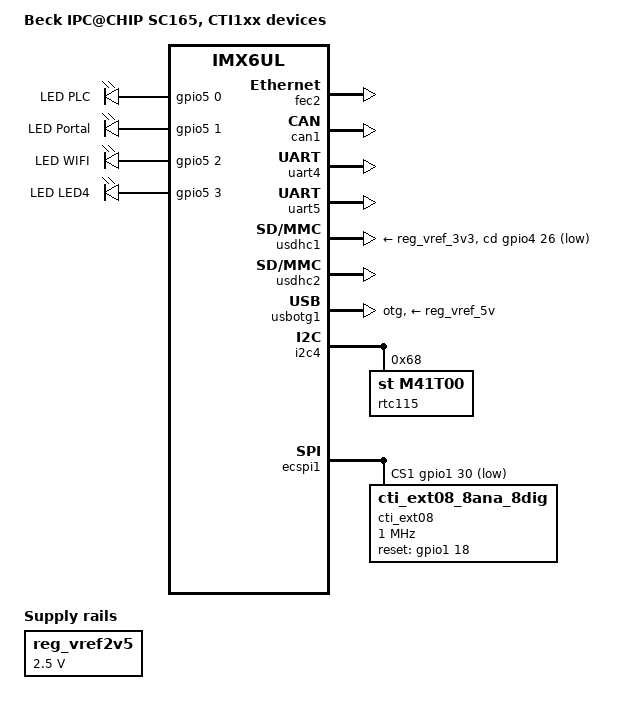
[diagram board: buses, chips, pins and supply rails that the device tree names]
/*
 * Copyright (C) 2015 Freescale Semiconductor, Inc.
 * Copyright (C) 2016 Beck IPC GmbH
 * Copyright (C) 2017, 2018 Kernel Concepts GmbH
 *
 * This program is free software; you can redistribute it and/or modify
 * it under the terms of the GNU General Public License version 2 as
 * published by the Free Software Foundation.
 *
 * Device tree for SC165-H00 on Beck CTI1xx baseboards
 *
 */

/dts-v1/;
#include "imx6ul.dtsi"
#include "imx6ul-sc165-h00.dtsi"
#include <dt-bindings/gpio/gpio.h>

/ {
	model = "Beck IPC@CHIP SC165, CTI1xx devices";
	compatible = "beck,imx6ul-sc165", "fsl,imx6ul";

	chosen {
		stdout-path = &uart4;
	};

	/* LEDs located on main board */
	mainboard-leds {
		status = "okay";
		pinctrl-names = "default";
		pinctrl-0 = <&pinctrl_leds>;
		compatible = "gpio-leds";
		led_g1 {
			label = "LED PLC";
			gpios = <&gpio5 0 GPIO_ACTIVE_HIGH>;
			default-state = "off";
		};
		led_g2 {
			label = "LED Portal";
			gpios = <&gpio5 1 GPIO_ACTIVE_HIGH>;
			default-state = "off";
		};
		led_g3 {
			label = "LED WIFI";
			gpios = <&gpio5 2 GPIO_ACTIVE_HIGH>;
			default-state = "off";
		};
		led_g4 {
			label = "LED LED4";
			gpios = <&gpio5 3 GPIO_ACTIVE_HIGH>;
			default-state = "off";
		};
	};

	reg_vref2v5: regulator-2v5 {
		compatible = "regulator-fixed";
		regulator-name = "vref";
		regulator-min-microvolt = <2500000>;
		regulator-max-microvolt = <2500000>;
		regulator-always-on;
	};
};

&flash0 {
	partitions {
		compatible = "fixed-partitions";
		#address-cells = <1>;
		#size-cells = <1>;

		partition@0 {		/* 512k */
			label = "bootloader";
			reg = <0x0000000 0x0080000>;
			read-only;
		};

		partition@80000 {	/* 256k */
			label = "environment";
			reg = <0x0080000 0x0040000>;
		};

		partition@C0000 {	/* ubi container */
			label = "filesystem";
			reg = <0x00C0000 0xFF40000>;
		};
	};
};

&fec2 {
    status = "okay";
};

&can1 {
    status = "okay";
};

&can2 {
    status = "disabled";
};

&uart1 {
    status = "disabled";
};

&uart4 {
    status = "okay";
};

&uart5 {
    status = "ok";
    /delete-node/ fsl,uart-has-rtscts;
};

&usdhc1 {
    status = "okay";
    cd-gpios = <&gpio4 26 GPIO_ACTIVE_LOW>; /* 117 high, 115 low */
    disable-wp;
    vmmc-supply = <&reg_vref_3v3>;
    /delete-node/ wp-gpios;
};


&usdhc2 {
    status = "okay";
};

&usbotg1 {
	status = "disabled";
};

&usbotg2 {
	status = "disabled";
};

&lcdif {
	status = "disabled";
};

&i2c1 {
    status = "disabled";
};


&i2c2 {
    status = "disabled";
};

&i2c4 {
    status = "ok";

    /* External RTC */
    rtc115: m41t00@68 {
	compatible = "st,m41t00";
	reg = <0x68>;
    };
};

&ecspi1 {
    fsl,spi-num-chipselects = <1>;
    cs-gpios = <0>, <&gpio1 30 GPIO_ACTIVE_LOW>;
    pinctrl-names = "default";
    pinctrl-0 = <&pinctrl_ecspi1>;
    status = "okay";

    cti_ext08: cti_ext08@0 {
        compatible = "cti_ext08_8ana_8dig";
        spi-max-frequency = <1000000>;
        spi-cpha=<0>;
        spi-cpol=<0>;
        reg = <1>;
        gpio-reset = <&gpio1 18 GPIO_ACTIVE_HIGH>;
    };
};

&pinctrl_ecspi1 {
	fsl,pins = <
		MX6UL_PAD_CSI_DATA07__ECSPI1_MISO   0x1b020
		MX6UL_PAD_CSI_DATA06__ECSPI1_MOSI   0x1b020
		MX6UL_PAD_CSI_DATA04__ECSPI1_SCLK   0x1b020
		MX6UL_PAD_UART1_CTS_B__GPIO1_IO18   0x0b0b0
		MX6UL_PAD_UART5_TX_DATA__GPIO1_IO30 0x0b0b0
	>;
};


&ecspi2 {
    status = "disabled";

};

/* USB OTG port */
&usbotg1 {
    vbus-supply = <&reg_vref_5v>;
    dr_mode = "otg";
    srp-disable;
    hnp-disable;
    adp-disable;
    disable-over-current;
    status = "okay";
};

&iomuxc {

    pinctrl_leds: mbleds {
        fsl,pins = <
            MX6UL_PAD_SNVS_TAMPER0__GPIO5_IO00	0x0b0b0 
            MX6UL_PAD_SNVS_TAMPER1__GPIO5_IO01	0x0b0b0 
            MX6UL_PAD_SNVS_TAMPER2__GPIO5_IO02	0x0b0b0 
            MX6UL_PAD_SNVS_TAMPER3__GPIO5_IO03	0x0b0b0 
        >;
    };

    /* SDIO1 / SDHC card */
    pinctrl_usdhc1_default {
        fsl,pins = <
            MX6UL_PAD_SD1_CMD__USDHC1_CMD           0x17059
            MX6UL_PAD_SD1_CLK__USDHC1_CLK           0x10071
            MX6UL_PAD_SD1_DATA0__USDHC1_DATA0       0x17059
            MX6UL_PAD_SD1_DATA1__USDHC1_DATA1       0x17059
            MX6UL_PAD_SD1_DATA2__USDHC1_DATA2       0x17059
            MX6UL_PAD_SD1_DATA3__USDHC1_DATA3       0x17059
            MX6UL_PAD_CSI_DATA05__GPIO4_IO26        0x17059 /* SD1 CD */
        >;
    };

    pinctrl_usdhc1_100mhz {
        fsl,pins = <
            MX6UL_PAD_SD1_CMD__USDHC1_CMD           0x170b9
            MX6UL_PAD_SD1_CLK__USDHC1_CLK           0x100b9
            MX6UL_PAD_SD1_DATA0__USDHC1_DATA0       0x170b9
            MX6UL_PAD_SD1_DATA1__USDHC1_DATA1       0x170b9
            MX6UL_PAD_SD1_DATA2__USDHC1_DATA2       0x170b9
            MX6UL_PAD_SD1_DATA3__USDHC1_DATA3       0x170b9
            MX6UL_PAD_CSI_DATA05__GPIO4_IO26        0x17059 /* SD1 CD */
        >;
    };

    pinctrl_usdhc1_200mhz {
        fsl,pins = <
            MX6UL_PAD_SD1_CMD__USDHC1_CMD           0x170f9
            MX6UL_PAD_SD1_CLK__USDHC1_CLK           0x100f9
            MX6UL_PAD_SD1_DATA0__USDHC1_DATA0       0x170f9
            MX6UL_PAD_SD1_DATA1__USDHC1_DATA1       0x170f9
            MX6UL_PAD_SD1_DATA2__USDHC1_DATA2       0x170f9
            MX6UL_PAD_SD1_DATA3__USDHC1_DATA3       0x170f9
            MX6UL_PAD_CSI_DATA05__GPIO4_IO26        0x17059 /* SD1 CD */
        >;
    };
};
